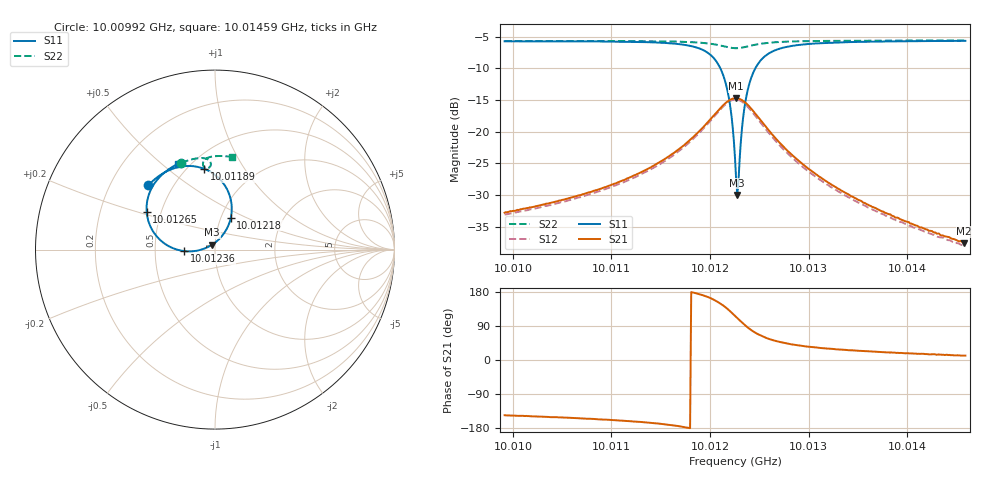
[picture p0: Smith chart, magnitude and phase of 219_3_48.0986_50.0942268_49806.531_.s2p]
#  HZ  S  RI  R  50.00
! Rohde & Schwarz Vector Network Analyzer
! Rohde-Schwarz,ZNB20-2Port,1311601062101988,3.16
! Created: UTC 12/23/2023, 3:56:34 AM
! freq[Hz]  re:S11  im:S11  re:S21  im:S21  re:S12  im:S12  re:S22  im:S22
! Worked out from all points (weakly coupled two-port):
!   401 points, 10.00992 GHz to 10.01459 GHz, reference 50 ohm
!   highest |S21| = -14.72 dB at 10.01227 GHz (marker M1); lowest = -37.6 dB at 10.01458 GHz (marker M2)
!   lowest |S11| = -30.0 dB at 10.01228 GHz (marker M3), VSWR 1.07, Z = 48.3 + j2.65 ohm
!   |S11| at or under -10 dB: 10.01211 GHz to 10.01246 GHz (355.5 kHz wide, 0.00355 % of centre)
!   |S22| runs from -6.8 to -5.6 dB; largest |S21 - S12| = 0.0088
!   S11 on the Smith chart (normalised r, x): 10.00992 GHz: 0.37, +0.36; 10.01189 GHz: 0.60, +0.68; 10.01218 GHz: 1.11, +0.41; 10.01236 GHz: 0.71, -0.01; 10.01265 GHz: 0.42, +0.22; 10.01459 GHz: 0.43, +0.57
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1.0009916e10  -0.3707 0.3589  -0.019 -0.0129  -0.0177 -0.0134  -0.187 0.4837
1.0010699e10  -0.315 0.408  -0.0288 -0.0139  -0.027 -0.0147  -0.1367 0.5008
1.0011482e10  -0.2094 0.4586  -0.0558 -0.012  -0.0531 -0.0143  -0.0793 0.5104
1.0011892e10  -0.0592 0.4497  -0.1004 0.0109  -0.0977 0.00528  -0.0404 0.5031
1.0012079e10  0.0657 0.3389  -0.13 0.0656  -0.1301 0.057  -0.0236 0.4826
1.0012137e10  0.0913 0.2594  -0.1303 0.097  -0.1317 0.0886  -0.0232 0.4717
1.0012184e10  0.0884 0.1788  -0.12 0.1263  -0.1228 0.1184  -0.0272 0.4626
1.0012219e10  0.0652 0.115  -0.104 0.1476  -0.1076 0.1402  -0.0328 0.457
1.0012254e10  0.0223 0.0577  -0.0818 0.1645  -0.0864 0.1571  -0.0403 0.4539
1.0012266e10  0.00424 0.0417  -0.0734 0.1685  -0.0778 0.1614  -0.0432 0.4534
1.0012277e10  -0.016 0.0274  -0.0642 0.1717  -0.0692 0.1649  -0.0457 0.4534
1.0012289e10  -0.0371 0.0154  -0.0554 0.174  -0.0603 0.1672  -0.0487 0.4539
1.0012301e10  -0.0597 0.00543  -0.0463 0.1753  -0.0508 0.169  -0.0513 0.4545
1.0012324e10  -0.1048 -0.00693  -0.0286 0.1753  -0.0326 0.1694  -0.0563 0.4568
1.0012359e10  -0.1717 -0.00827  -0.00325 0.1694  -0.00818 0.1639  -0.062 0.4621
1.0012406e10  -0.2479 0.0141  0.0235 0.1541  0.0176 0.1491  -0.0665 0.4708
1.0012464e10  -0.3143 0.0623  0.044 0.1304  0.0381 0.1264  -0.0671 0.4815
1.0012651e10  -0.3808 0.2112  0.057 0.0713  0.0515 0.0702  -0.0531 0.504
1.0013037e10  -0.3489 0.3501  0.0402 0.0273  0.037 0.0277  -0.0182 0.5182
1.0013821e10  -0.2701 0.4388  0.021 0.00754  0.0194 0.00823  0.0402 0.5212
1.0014581e10  -0.2092 0.4765  0.0129 0.00267  0.0121 0.00328  0.0913 0.5162
1.0014592e10  -0.2082 0.4771  0.0129 0.00264  0.0121 0.00322  0.0921 0.516
